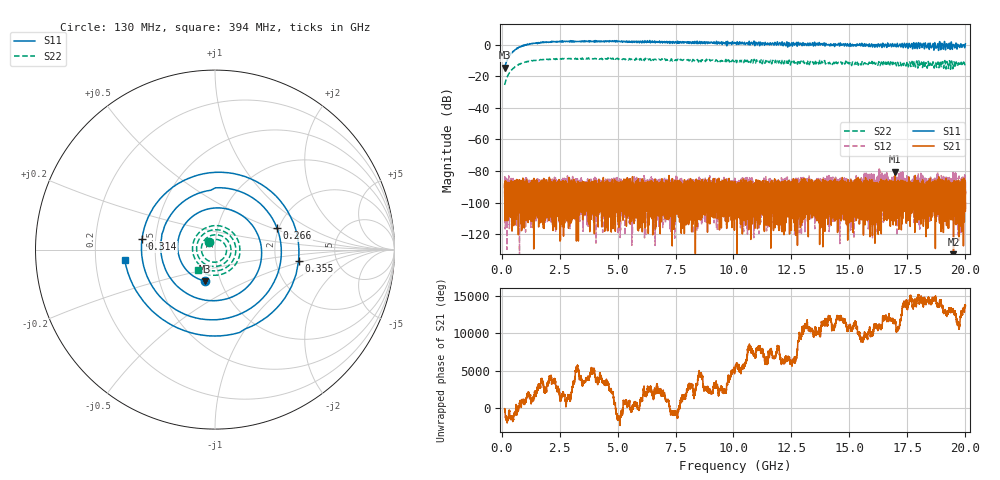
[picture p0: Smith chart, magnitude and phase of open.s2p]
!Created with skrf (http://scikit-rf.org).
# GHz S RI R 50.0
!freq ReS11 ImS11 ReS21 ImS21 ReS12 ImS12 ReS22 ImS22
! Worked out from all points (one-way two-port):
!   20013 points, 130 MHz to 20 GHz, reference 50 ohm
!   highest |S21| = -80.35 dB at 16.97 GHz (marker M1); lowest = -136.4 dB at 19.49 GHz (marker M2)
!   lowest |S11| = -14.7 dB at 130 MHz (marker M3), VSWR 1.45, Z = 42.2 - j15.3 ohm
!   |S11| at or under -10 dB: start of sweep to 239.8 MHz
!   |S22| runs from -25.5 to -8.4 dB; largest |S21 - S12| = 0.00012
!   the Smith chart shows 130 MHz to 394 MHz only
!   S11 on the Smith chart (normalised r, x): 130 MHz: 0.84, -0.31; 266 MHz: 1.96, +0.54; 314 MHz: 0.42, +0.06; 355 MHz: 2.69, -0.44; 394 MHz: 0.33, -0.05
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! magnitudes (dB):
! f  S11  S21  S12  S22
! 130 MHz  -14.7  -90.2  -87.7  -25.5
! 266 MHz  -8.7  -90.8  -94.3  -19.6
! 314 MHz  -7.7  -95.2  -89.9  -18.5
! 355 MHz  -6.6  -89.4  -91.5  -17.3
! 394 MHz  -5.9  -90.2  -88.6  -16.7
! 771 MHz  -1.5  -100.3  -95.0  -12.4
! 1.298 GHz  0.7  -102.0  -91.2  -10.1
! 2.224 GHz  1.9  -95.6  -87.2  -9.1
! 3.442 GHz  2.1  -95.4  -88.5  -9.2
! 6.754 GHz  1.7  -91.4  -94.0  -9.4
! 10.06 GHz  1.0  -101.9  -91.2  -9.7
! 13.38 GHz  0.0  -91.6  -99.0  -11.6
! 16.69 GHz  -1.1  -93.1  -97.8  -11.5
! 16.97 GHz  0.2  -80.4  -86.9  -11.6
! 18.12 GHz  -1.8  -103.3  -95.6  -11.9
! 18.75 GHz  -2.2  -88.4  -89.1  -13.6
! 19.44 GHz  -2.6  -98.4  -95.7  -14.0
! 19.49 GHz  0.0  -136.4  -81.9  -11.7
! 19.54 GHz  -2.1  -97.1  -99.7  -12.7
! 19.7 GHz  -1.2  -94.8  -86.7  -11.8
! 19.88 GHz  -0.3  -93.7  -94.3  -13.3
! 20 GHz  0.5  -93.7  -94.3  -13.0
